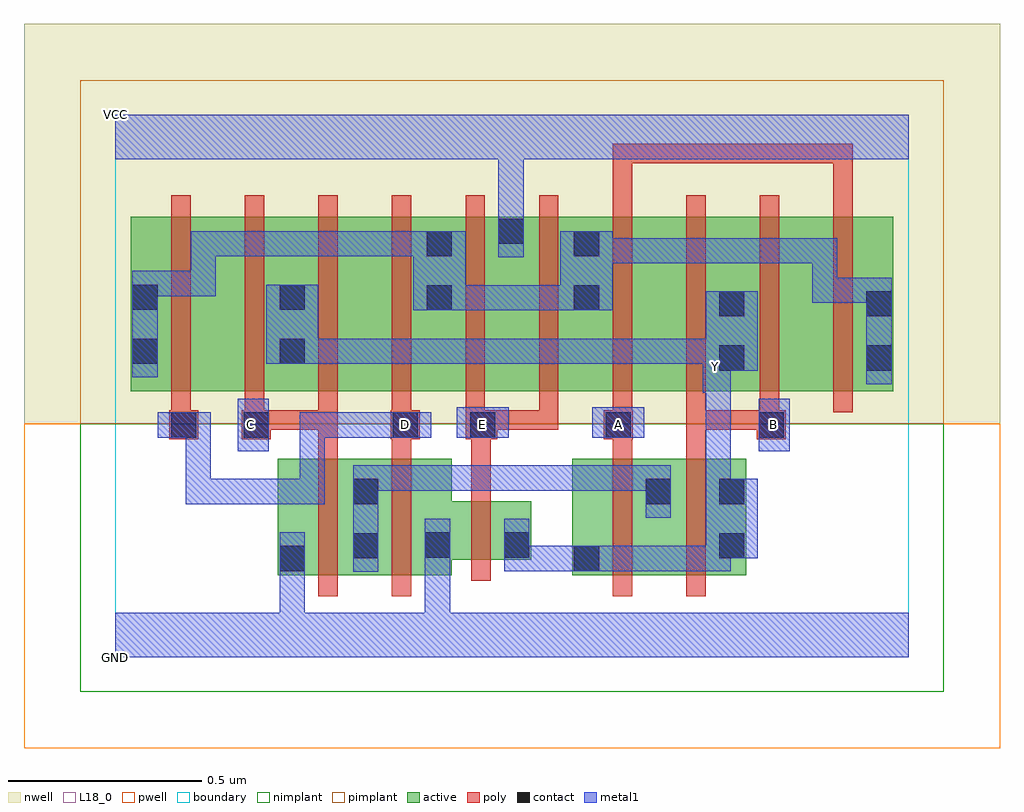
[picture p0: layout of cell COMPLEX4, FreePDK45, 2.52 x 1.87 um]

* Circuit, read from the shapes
.subckt COMPLEX4 A B C D E GND VCC Y
M1 n1 C GND VSUBS nfet w=0.3u l=0.05u
M2 GND D n1 VSUBS nfet w=0.3u l=0.05u
M3 Y E GND VSUBS nfet w=0.15u l=0.05u
M4 n1 A Y VSUBS nfet w=0.3u l=0.05u
M5 Y B n1 VSUBS nfet w=0.3u l=0.05u
M6 n2 D n3 n4 pfet w=0.45u l=0.05u
M7 Y C n2 n4 pfet w=0.45u l=0.05u
M8 n5 C Y n4 pfet w=0.45u l=0.05u
M9 n3 D n5 n4 pfet w=0.45u l=0.05u
M10 VCC E n3 n4 pfet w=0.45u l=0.05u m=2
M11 n6 A n3 n4 pfet w=0.45u l=0.05u
M12 Y B n6 n4 pfet w=0.45u l=0.05u
M13 n7 B Y n4 pfet w=0.45u l=0.05u
M14 n3 A n7 n4 pfet w=0.45u l=0.05u
.ends

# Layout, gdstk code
import gdstk
lib = gdstk.Library(unit=1e-6, precision=1e-09)
def R(c, l, rs):  # rectangles x0, y0, x1, y1
    for r in rs: c.add(gdstk.rectangle(r[:2], r[2:], *l))
def A(c, l, x, y, w, h, nx, ny, dx, dy):  # array of equal rectangles
    R(c, l, [(x+i*dx, y+j*dy, x+i*dx+w, y+j*dy+h) for i in range(nx) for j in range(ny)])
active = (1, 0)
pwell = (2, 0)
nwell = (3, 0)
nimplant = (4, 0)
pimplant = (5, 0)
poly = (9, 0)
contact = (10, 0)
metal1 = (11, 0)
L18_0 = (18, 0)
boundary = (235, 0)

complex4 = lib.new_cell('COMPLEX4')
R(complex4, active, [(0.42,0.212,0.685,0.512), (0.61,0.212,0.87,0.512), (1.18,0.212,1.255,0.512), (1.18,0.212,1.44,0.512), (1.365,0.212,1.63,0.512), (1.555,0.212,1.63,0.512), (0.42,0.217,0.495,0.512), (0.61,0.247,0.685,0.465), (1.365,0.247,1.44,0.465), (0.795,0.252,0.87,0.402), (0.795,0.252,1.075,0.402), (1,0.252,1.075,0.402), (0.04,0.687,0.115,1.107), (0.04,0.687,0.265,1.137), (0.265,0.687,0.495,1.137), (0.42,0.687,0.645,1.137), (0.42,0.687,0.495,1.07), (0.645,0.687,0.875,1.137), (0.8,0.687,1.06,1.137), (0.985,0.687,1.255,1.137), (1.18,0.687,1.405,1.137), (1.405,0.687,1.63,1.137), (1.555,0.687,1.785,1.137), (1.555,0.687,1.63,1.07), (1.785,0.687,2.01,1.137), (1.935,0.687,2.01,1.107), (0.8,0.812,0.875,1.137), (1.18,0.812,1.255,1.137), (0.985,0.852,1.06,1.137)])
R(complex4, pwell, [(-0.235,-0.235,2.285,0.602)])
R(complex4, nwell, [(-0.235,0.602,2.285,1.635)])
R(complex4, nimplant, [(-0.09,-0.09,2.14,0.602)])
R(complex4, pimplant, [(-0.09,0.602,2.14,1.49)])
A(complex4, poly, 0.145, 0.587, 0.05, 0.095, 9, 1, 0.19, 0)
A(complex4, poly, 0.145, 0.632, 0.05, 0.56, 10, 1, 0.19, 0)
R(complex4, poly, [(0.525,0.157,0.575,0.567), (0.715,0.157,0.765,0.567), (1.285,0.157,1.335,0.567), (1.475,0.157,1.525,0.567), (0.92,0.197,0.97,0.457), (0.92,0.407,0.97,0.612), (0.525,0.517,0.575,0.637), (0.715,0.517,0.765,0.612), (1.285,0.517,1.335,0.612), (1.475,0.517,1.525,0.637), (0.14,0.562,0.215,0.637), (0.327,0.562,0.402,0.637), (0.712,0.562,0.787,0.637), (0.905,0.562,0.987,0.637), (1.262,0.562,1.337,0.637), (1.657,0.562,1.732,0.637), (0.352,0.587,0.402,0.637), (0.352,0.587,0.402,0.637), (0.352,0.587,0.575,0.637), (0.525,0.587,0.575,0.637), (0.937,0.587,1.145,0.637), (1.095,0.587,1.145,0.637), (1.095,0.587,1.145,0.637), (1.095,0.587,1.145,0.637), (1.475,0.587,1.525,0.637), (1.475,0.587,1.525,0.637), (1.475,0.587,1.525,0.637), (1.475,0.587,1.707,0.637), (1.285,1.142,1.335,1.325), (1.855,1.142,1.905,1.325), (1.285,1.275,1.335,1.325), (1.285,1.275,1.335,1.325), (1.285,1.275,1.335,1.325), (1.285,1.275,1.575,1.325), (1.525,1.275,1.575,1.325), (1.525,1.275,1.575,1.325), (1.525,1.275,1.575,1.325), (1.525,1.275,1.772,1.325), (1.722,1.275,1.905,1.325), (1.722,1.275,1.772,1.325), (1.722,1.275,1.772,1.325), (1.722,1.275,1.772,1.325), (1.855,1.275,1.905,1.325)])
R(complex4, contact, [(0.425,0.222,0.49,0.287), (1.185,0.222,1.25,0.287), (0.615,0.255,0.68,0.32), (1.56,0.255,1.625,0.32), (0.8,0.257,0.865,0.322), (1.005,0.257,1.07,0.322), (0.615,0.395,0.68,0.46), (1.37,0.395,1.435,0.46), (1.56,0.395,1.625,0.46), (0.145,0.567,0.21,0.632), (0.332,0.567,0.397,0.632), (0.717,0.567,0.782,0.632), (0.917,0.567,0.982,0.632), (1.267,0.567,1.332,0.632), (1.662,0.567,1.727,0.632), (1.56,0.74,1.625,0.805), (1.94,0.74,2.005,0.805), (0.045,0.757,0.11,0.822), (0.425,0.757,0.49,0.822), (1.56,0.88,1.625,0.945), (1.94,0.88,2.005,0.945), (0.805,0.895,0.87,0.96), (1.185,0.895,1.25,0.96), (0.045,0.897,0.11,0.962), (0.425,0.897,0.49,0.962), (0.805,1.035,0.87,1.1), (1.185,1.035,1.25,1.1), (0.99,1.067,1.055,1.132)])
R(complex4, metal1, [(0,0,2.05,0.115), (0.425,0.05,0.49,0.252), (0.8,0.05,0.865,0.287), (0.425,0.187,0.49,0.252), (0.425,0.187,0.49,0.252), (0.425,0.187,0.49,0.322), (0.615,0.22,0.68,0.495), (0.8,0.222,0.865,0.287), (0.8,0.222,0.865,0.287), (0.8,0.222,0.865,0.357), (1.005,0.222,1.07,0.287), (1.005,0.222,1.07,0.287), (1.005,0.222,1.215,0.287), (1.005,0.222,1.07,0.357), (1.15,0.222,1.285,0.287), (1.22,0.222,1.285,0.287), (1.22,0.222,1.285,0.287), (1.22,0.222,1.445,0.287), (1.38,0.222,1.445,0.287), (1.38,0.222,1.59,0.287), (1.525,0.222,1.59,0.287), (1.525,0.222,1.59,0.287), (1.525,0.222,1.59,0.287), (1.525,0.222,1.59,0.32), (1.525,0.255,1.66,0.46), (1.37,0.36,1.435,0.495), (0.182,0.395,0.247,0.46), (0.182,0.395,0.397,0.46), (0.182,0.395,0.247,0.632), (0.332,0.395,0.397,0.46), (0.332,0.395,0.542,0.46), (0.477,0.395,0.542,0.46), (0.477,0.395,0.542,0.632), (1.525,0.395,1.59,0.747), (0.615,0.43,0.68,0.495), (0.615,0.43,0.68,0.495), (0.615,0.43,0.917,0.495), (0.852,0.43,0.917,0.495), (0.852,0.43,0.917,0.495), (0.852,0.43,0.917,0.495), (0.852,0.43,1.07,0.495), (1.005,0.43,1.07,0.495), (1.005,0.43,1.07,0.495), (1.005,0.43,1.07,0.495), (1.005,0.43,1.297,0.495), (1.232,0.43,1.297,0.495), (1.232,0.43,1.435,0.495), (1.37,0.43,1.435,0.495), (1.37,0.43,1.435,0.495), (0.317,0.532,0.397,0.667), (1.662,0.532,1.742,0.667), (0.11,0.567,0.245,0.632), (0.18,0.567,0.247,0.632), (0.182,0.567,0.247,0.632), (0.477,0.567,0.542,0.632), (0.477,0.567,0.542,0.632), (0.477,0.567,0.542,0.632), (0.477,0.567,0.68,0.632), (0.615,0.567,0.68,0.632), (0.615,0.567,0.747,0.632), (0.682,0.567,0.817,0.632), (0.882,0.567,1.017,0.645), (1.232,0.567,1.367,0.645), (1.517,0.682,1.59,0.817), (1.94,0.705,2.005,0.98), (0.045,0.722,0.11,0.997), (1.525,0.74,1.66,0.945), (1.525,0.752,1.59,0.817), (0.39,0.757,0.525,0.962), (0.46,0.757,0.542,0.822), (0.477,0.757,0.542,0.822), (0.477,0.757,0.697,0.822), (0.632,0.757,0.697,0.822), (0.632,0.757,0.697,0.822), (0.632,0.757,0.697,0.822), (0.632,0.757,0.835,0.822), (0.77,0.757,0.835,0.822), (0.77,0.757,0.835,0.822), (0.77,0.757,0.835,0.822), (0.77,0.757,1.07,0.822), (1.005,0.757,1.07,0.822), (1.005,0.757,1.07,0.822), (1.005,0.757,1.07,0.822), (1.005,0.757,1.297,0.822), (1.232,0.757,1.297,0.822), (1.232,0.757,1.435,0.822), (1.37,0.757,1.435,0.822), (1.37,0.757,1.435,0.822), (1.37,0.757,1.435,0.822), (1.37,0.757,1.59,0.822), (1.525,0.757,1.59,0.822), (1.525,0.757,1.59,0.822), (0.77,0.895,0.905,1.1), (0.84,0.895,0.905,0.96), (0.84,0.895,0.905,0.96), (0.84,0.895,1.077,0.96), (1.012,0.895,1.077,0.96), (1.012,0.895,1.077,0.96), (1.012,0.895,1.077,0.96), (1.012,0.895,1.215,0.96), (1.15,0.895,1.285,1.1), (1.8,0.915,1.865,0.98), (1.8,0.915,2.005,0.98), (1.8,0.915,1.865,1.082), (1.94,0.915,2.005,0.98), (1.94,0.915,2.005,0.98), (0.045,0.932,0.11,0.997), (0.045,0.932,0.11,0.997), (0.045,0.932,0.26,0.997), (0.195,0.932,0.26,0.997), (0.195,0.932,0.26,1.1), (1.22,1.017,1.285,1.082), (1.22,1.017,1.285,1.082), (1.22,1.017,1.435,1.082), (1.37,1.017,1.435,1.082), (1.37,1.017,1.572,1.082), (1.507,1.017,1.572,1.082), (1.507,1.017,1.727,1.082), (1.662,1.017,1.727,1.082), (1.662,1.017,1.727,1.082), (1.662,1.017,1.727,1.082), (1.662,1.017,1.865,1.082), (1.8,1.017,1.865,1.082), (0.99,1.032,1.055,1.22), (0.195,1.035,0.26,1.1), (0.195,1.035,0.397,1.1), (0.332,1.035,0.397,1.1), (0.332,1.035,0.397,1.1), (0.332,1.035,0.397,1.1), (0.332,1.035,0.535,1.1), (0.47,1.035,0.535,1.1), (0.47,1.035,0.697,1.1), (0.632,1.035,0.697,1.1), (0.632,1.035,0.697,1.1), (0.632,1.035,0.697,1.1), (0.632,1.035,0.835,1.1), (0.99,1.155,1.055,1.22), (0.99,1.155,1.055,1.22), (0.99,1.155,1.055,1.35), (0,1.285,2.05,1.4)])
R(complex4, L18_0, [(0,0,2.05,0.115), (0.425,0.05,0.49,0.252), (0.8,0.05,0.865,0.287), (0.425,0.187,0.49,0.252), (0.425,0.187,0.49,0.252), (0.425,0.187,0.49,0.322), (0.8,0.222,0.865,0.287), (0.8,0.222,0.865,0.287), (0.8,0.222,0.865,0.357), (1.005,0.222,1.07,0.287), (1.005,0.222,1.07,0.287), (1.005,0.222,1.07,0.357), (1.005,0.222,1.215,0.287), (1.15,0.222,1.285,0.287), (1.22,0.222,1.285,0.287), (1.22,0.222,1.285,0.287), (1.22,0.222,1.445,0.287), (1.38,0.222,1.445,0.287), (1.38,0.222,1.59,0.287), (1.525,0.222,1.59,0.287), (1.525,0.222,1.59,0.287), (1.525,0.222,1.59,0.287), (1.525,0.222,1.59,0.32), (1.525,0.255,1.66,0.46), (0.182,0.395,0.247,0.46), (0.182,0.395,0.247,0.632), (0.182,0.395,0.397,0.46), (0.332,0.395,0.397,0.46), (0.332,0.395,0.542,0.46), (0.477,0.395,0.542,0.46), (0.477,0.395,0.542,0.632), (1.525,0.395,1.59,0.747), (0.317,0.532,0.397,0.667), (1.662,0.532,1.742,0.667), (0.11,0.567,0.245,0.632), (0.18,0.567,0.247,0.632), (0.182,0.567,0.247,0.632), (0.317,0.567,0.382,0.632), (0.477,0.567,0.542,0.632), (0.477,0.567,0.542,0.632), (0.477,0.567,0.542,0.632), (0.477,0.567,0.68,0.632), (0.615,0.567,0.68,0.632), (0.615,0.567,0.747,0.632), (0.682,0.567,0.817,0.632), (0.717,0.567,0.782,0.632), (0.882,0.567,1.017,0.645), (0.917,0.567,0.982,0.632), (1.232,0.567,1.367,0.645), (1.267,0.567,1.332,0.632), (1.667,0.567,1.732,0.632), (1.517,0.682,1.59,0.817), (1.517,0.717,1.582,0.782), (1.525,0.74,1.66,0.945), (1.525,0.752,1.59,0.817), (0.39,0.757,0.525,0.962), (0.46,0.757,0.542,0.822), (0.477,0.757,0.542,0.822), (0.477,0.757,0.697,0.822), (0.632,0.757,0.697,0.822), (0.632,0.757,0.697,0.822), (0.632,0.757,0.697,0.822), (0.632,0.757,0.835,0.822), (0.77,0.757,0.835,0.822), (0.77,0.757,0.835,0.822), (0.77,0.757,0.835,0.822), (0.77,0.757,1.07,0.822), (1.005,0.757,1.07,0.822), (1.005,0.757,1.07,0.822), (1.005,0.757,1.07,0.822), (1.005,0.757,1.297,0.822), (1.232,0.757,1.297,0.822), (1.232,0.757,1.435,0.822), (1.37,0.757,1.435,0.822), (1.37,0.757,1.435,0.822), (1.37,0.757,1.435,0.822), (1.37,0.757,1.59,0.822), (1.525,0.757,1.59,0.822), (1.525,0.757,1.59,0.822), (0.99,1.032,1.055,1.22), (0.99,1.155,1.055,1.22), (0.99,1.155,1.055,1.22), (0.99,1.155,1.055,1.35), (0,1.285,2.05,1.4)])
R(complex4, boundary, [(0,0,2.05,1.4)])
complex4.add(gdstk.Label('A', (1.3,0.6), layer=11, texttype=0))
complex4.add(gdstk.Label('B', (1.7,0.6), layer=11, texttype=0))
complex4.add(gdstk.Label('C', (0.35,0.6), layer=11, texttype=0))
complex4.add(gdstk.Label('D', (0.75,0.6), layer=11, texttype=0))
complex4.add(gdstk.Label('E', (0.95,0.6), layer=11, texttype=0))
complex4.add(gdstk.Label('Y', (1.55,0.75), layer=11, texttype=0))
complex4.add(gdstk.Label('VCC', (0,1.4), layer=11, texttype=0))
complex4.add(gdstk.Label('GND', (0,0), layer=11, texttype=0))

lib.write_gds('COMPLEX4.gds')
